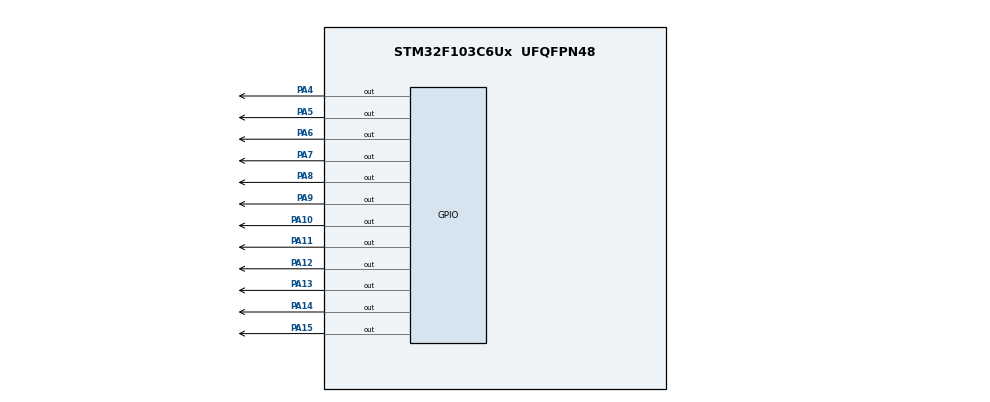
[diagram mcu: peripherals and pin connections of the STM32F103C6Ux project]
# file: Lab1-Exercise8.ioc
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Mcu.Family=STM32F1
Mcu.Name=STM32F103C6Ux
Mcu.Package=UFQFPN48
NVIC.PriorityGroup=NVIC_PRIORITYGROUP_4
PA10.Signal=GPIO_Output
PA11.Signal=GPIO_Output
PA12.Signal=GPIO_Output
PA13.Signal=GPIO_Output
PA14.Signal=GPIO_Output
PA15.Signal=GPIO_Output
PA4.Signal=GPIO_Output
PA5.Signal=GPIO_Output
PA6.Signal=GPIO_Output
PA7.Signal=GPIO_Output
PA8.Signal=GPIO_Output
PA9.Signal=GPIO_Output
ProjectManager.HeapSize=0x200
ProjectManager.StackSize=0x400
ProjectManager.TargetToolchain=STM32CubeIDE
RCC.APB1Freq_Value=8000000
RCC.APB2Freq_Value=8000000
VP_SYS_VS_ND.Mode=No_Debug
board=custom

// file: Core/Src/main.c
/* USER CODE BEGIN Header */
/**
  ******************************************************************************
  * @file           : main.c
  * @brief          : Main program body
  ******************************************************************************
  * @attention
  *
  * <h2><center>&copy; Copyright (c) 2022 STMicroelectronics.
  * All rights reserved.</center></h2>
  *
  * This software component is licensed by ST under BSD 3-Clause license,
  * the "License"; You may not use this file except in compliance with the
  * License. You may obtain a copy of the License at:
  *                        opensource.org/licenses/BSD-3-Clause
  *
  ******************************************************************************
  */
/* USER CODE END Header */
#include "main.h"

void SystemClock_Config(void);
static void MX_GPIO_Init(void);

/* USER CODE BEGIN 0 */
void clearAllClock(){
	  HAL_GPIO_WritePin(GPIOA, GPIO_PIN_4, RESET);
	  HAL_GPIO_WritePin(GPIOA, GPIO_PIN_5, RESET);
	  HAL_GPIO_WritePin(GPIOA, GPIO_PIN_6, RESET);
	  HAL_GPIO_WritePin(GPIOA, GPIO_PIN_7, RESET);
	  HAL_GPIO_WritePin(GPIOA, GPIO_PIN_8, RESET);
	  HAL_GPIO_WritePin(GPIOA, GPIO_PIN_9, RESET);
	  HAL_GPIO_WritePin(GPIOA, GPIO_PIN_10, RESET);
	  HAL_GPIO_WritePin(GPIOA, GPIO_PIN_11, RESET);
	  HAL_GPIO_WritePin(GPIOA, GPIO_PIN_12, RESET);
	  HAL_GPIO_WritePin(GPIOA, GPIO_PIN_13, RESET);
	  HAL_GPIO_WritePin(GPIOA, GPIO_PIN_14, RESET);
	  HAL_GPIO_WritePin(GPIOA, GPIO_PIN_15, RESET);
}
void setNumberOnClock(int num){
	switch (num) {
		case 0:
			HAL_GPIO_WritePin(GPIOA, GPIO_PIN_4, SET);
			break;
		case 1:
			HAL_GPIO_WritePin(GPIOA, GPIO_PIN_5, SET);
			break;
		case 2:
			HAL_GPIO_WritePin(GPIOA, GPIO_PIN_6, SET);
			break;
		case 3:
			HAL_GPIO_WritePin(GPIOA, GPIO_PIN_7, SET);
			break;
		case 4:
			HAL_GPIO_WritePin(GPIOA, GPIO_PIN_8, SET);
			break;
		case 5:
			HAL_GPIO_WritePin(GPIOA, GPIO_PIN_9, SET);
			break;
		case 6:
			HAL_GPIO_WritePin(GPIOA, GPIO_PIN_10, SET);
			break;
		case 7:
			HAL_GPIO_WritePin(GPIOA, GPIO_PIN_11, SET);
			break;
		case 8:
			HAL_GPIO_WritePin(GPIOA, GPIO_PIN_12, SET);
			break;
		case 9:
			HAL_GPIO_WritePin(GPIOA, GPIO_PIN_13, SET);
			break;
		case 10:
			HAL_GPIO_WritePin(GPIOA, GPIO_PIN_14, SET);
			break;
		case 11:
			HAL_GPIO_WritePin(GPIOA, GPIO_PIN_15, SET);
			break;
	}
}
/* USER CODE END 0 */

int main(void)
{

  /* MCU Configuration--------------------------------------------------------*/

  /* Reset of all peripherals, Initializes the Flash interface and the Systick. */
  HAL_Init();

  /* Configure the system clock */
  SystemClock_Config();

  /* Initialize all configured peripherals */
  MX_GPIO_Init();

  /* Infinite loop */
  while (1)
  {
	  clearAllClock();
	  HAL_Delay(1000);
	  setNumberOnClock(5);
	  HAL_Delay(1000);
  }
}

void SystemClock_Config(void)
{
  RCC_OscInitTypeDef RCC_OscInitStruct = {0};
  RCC_ClkInitTypeDef RCC_ClkInitStruct = {0};

  /** Initializes the RCC Oscillators according to the specified parameters
  * in the RCC_OscInitTypeDef structure.
  */
  RCC_OscInitStruct.OscillatorType = RCC_OSCILLATORTYPE_HSI;
  RCC_OscInitStruct.HSIState = RCC_HSI_ON;
  RCC_OscInitStruct.HSICalibrationValue = RCC_HSICALIBRATION_DEFAULT;
  RCC_OscInitStruct.PLL.PLLState = RCC_PLL_NONE;
  if (HAL_RCC_OscConfig(&RCC_OscInitStruct) != HAL_OK)
  {
    Error_Handler();
  }
  /** Initializes the CPU, AHB and APB buses clocks
  */
  RCC_ClkInitStruct.ClockType = RCC_CLOCKTYPE_HCLK|RCC_CLOCKTYPE_SYSCLK
                              |RCC_CLOCKTYPE_PCLK1|RCC_CLOCKTYPE_PCLK2;
  RCC_ClkInitStruct.SYSCLKSource = RCC_SYSCLKSOURCE_HSI;
  RCC_ClkInitStruct.AHBCLKDivider = RCC_SYSCLK_DIV1;
  RCC_ClkInitStruct.APB1CLKDivider = RCC_HCLK_DIV1;
  RCC_ClkInitStruct.APB2CLKDivider = RCC_HCLK_DIV1;

  if (HAL_RCC_ClockConfig(&RCC_ClkInitStruct, FLASH_LATENCY_0) != HAL_OK)
  {
    Error_Handler();
  }
}

static void MX_GPIO_Init(void)
{
  GPIO_InitTypeDef GPIO_InitStruct = {0};

  /* GPIO Ports Clock Enable */
  __HAL_RCC_GPIOA_CLK_ENABLE();

  /*Configure GPIO pin Output Level */
  HAL_GPIO_WritePin(GPIOA, GPIO_PIN_4|GPIO_PIN_5|GPIO_PIN_6|GPIO_PIN_7
                          |GPIO_PIN_8|GPIO_PIN_9|GPIO_PIN_10|GPIO_PIN_11
                          |GPIO_PIN_12|GPIO_PIN_13|GPIO_PIN_14|GPIO_PIN_15, GPIO_PIN_RESET);

  /*Configure GPIO pins : PA4 PA5 PA6 PA7
                           PA8 PA9 PA10 PA11
                           PA12 PA13 PA14 PA15 */
  GPIO_InitStruct.Pin = GPIO_PIN_4|GPIO_PIN_5|GPIO_PIN_6|GPIO_PIN_7
                          |GPIO_PIN_8|GPIO_PIN_9|GPIO_PIN_10|GPIO_PIN_11
                          |GPIO_PIN_12|GPIO_PIN_13|GPIO_PIN_14|GPIO_PIN_15;
  GPIO_InitStruct.Mode = GPIO_MODE_OUTPUT_PP;
  GPIO_InitStruct.Pull = GPIO_NOPULL;
  GPIO_InitStruct.Speed = GPIO_SPEED_FREQ_LOW;
  HAL_GPIO_Init(GPIOA, &GPIO_InitStruct);

}

void Error_Handler(void)
{
  __disable_irq();
  while (1)
  {
  }
}

/************************ (C) COPYRIGHT STMicroelectronics *****END OF FILE****/
